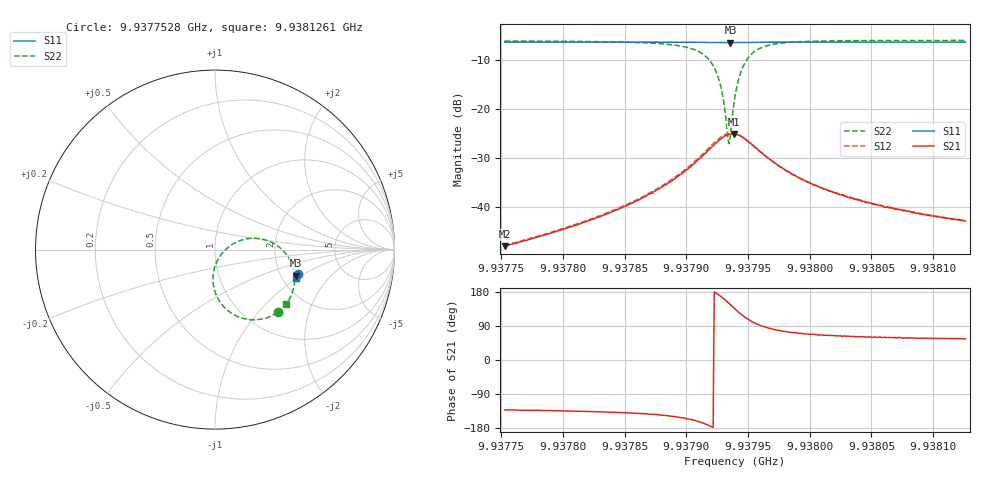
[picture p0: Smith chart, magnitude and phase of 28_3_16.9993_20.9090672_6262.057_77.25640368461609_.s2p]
#  HZ  S  RI  R  50.00
! Rohde & Schwarz Vector Network Analyzer
! Rohde-Schwarz,ZNB20-2Port,1311601062101988,3.16
! Created: UTC 3/20/2024, 10:53:17 PM
! freq[Hz]  re:S11  im:S11  re:S21  im:S21  re:S12  im:S12  re:S22  im:S22
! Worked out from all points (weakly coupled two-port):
!   401 points, 9.9377528 GHz to 9.9381261 GHz, reference 50 ohm
!   highest |S21| = -25.10 dB at 9.9379385 GHz (marker M1); lowest = -48.0 dB at 9.9377528 GHz (marker M2)
!   lowest |S11| = -6.5 dB at 9.9379357 GHz (marker M3), VSWR 2.80, Z = 120 - j44.9 ohm
!   |S11| at or under -10 dB: nowhere
!   |S22| runs from -27.1 to -6.0 dB; largest |S21 - S12| = 0.0042
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9.93775282e9  0.4619 -0.1355  -0.00264 -0.00296  -0.00273 -0.00297  0.3486 -0.3486
9.93781535e9  0.4602 -0.14  -0.00486 -0.00483  -0.00503 -0.00481  0.325 -0.3634
9.93784988e9  0.4592 -0.1425  -0.00762 -0.00661  -0.00791 -0.00665  0.2985 -0.3761
9.93787788e9  0.4578 -0.1446  -0.0126 -0.00876  -0.0131 -0.00875  0.2541 -0.3882
9.93790494e9  0.4557 -0.147  -0.0248 -0.0102  -0.0261 -0.00965  0.1489 -0.3813
9.93791894e9  0.4536 -0.1474  -0.0388 -0.00417  -0.0407 -0.00272  0.0406 -0.3088
9.93792268e9  0.4528 -0.1473  -0.0432 0.000252  -0.0452 0.00244  0.0112 -0.2629
9.93792641e9  0.4522 -0.1468  -0.0472 0.00691  -0.0488 0.00992  -0.00848 -0.1998
9.93792921e9  0.4516 -0.1464  -0.0488 0.0134  -0.0501 0.017  -0.0103 -0.1426
9.93793387e9  0.4515 -0.1451  -0.0479 0.0261  -0.0476 0.0301  0.0245 -0.0418
9.93793481e9  0.4515 -0.1449  -0.0471 0.0284  -0.0464 0.0325  0.0374 -0.0234
9.93793574e9  0.4515 -0.1445  -0.0458 0.0311  -0.0449 0.0351  0.0525 -0.00611
9.93793854e9  0.4518 -0.1437  -0.0409 0.0376  -0.0391 0.0411  0.1064 0.035
9.93793947e9  0.4519 -0.1435  -0.0388 0.0393  -0.0367 0.0427  0.1267 0.045
9.93794227e9  0.4527 -0.1432  -0.0319 0.0435  -0.0293 0.0459  0.188 0.0616
9.93794601e9  0.4537 -0.143  -0.0226 0.0455  -0.0199 0.047  0.2646 0.0582
9.93795534e9  0.4555 -0.1438  -0.00557 0.0407  -0.0035 0.0406  0.3853 -0.0122
9.93797494e9  0.4567 -0.1466  0.00544 0.0256  0.00618 0.0253  0.4428 -0.1459
9.938002e9  0.4562 -0.1494  0.00658 0.0158  0.00695 0.0156  0.4354 -0.2247
9.93803187e9  0.4556 -0.1518  0.00573 0.0111  0.006 0.011  0.4216 -0.2621
9.93806453e9  0.4547 -0.1543  0.00499 0.00838  0.0052 0.00825  0.4101 -0.2835
9.93812612e9  0.4531 -0.1585  0.00404 0.00593  0.00416 0.00592  0.396 -0.3043
